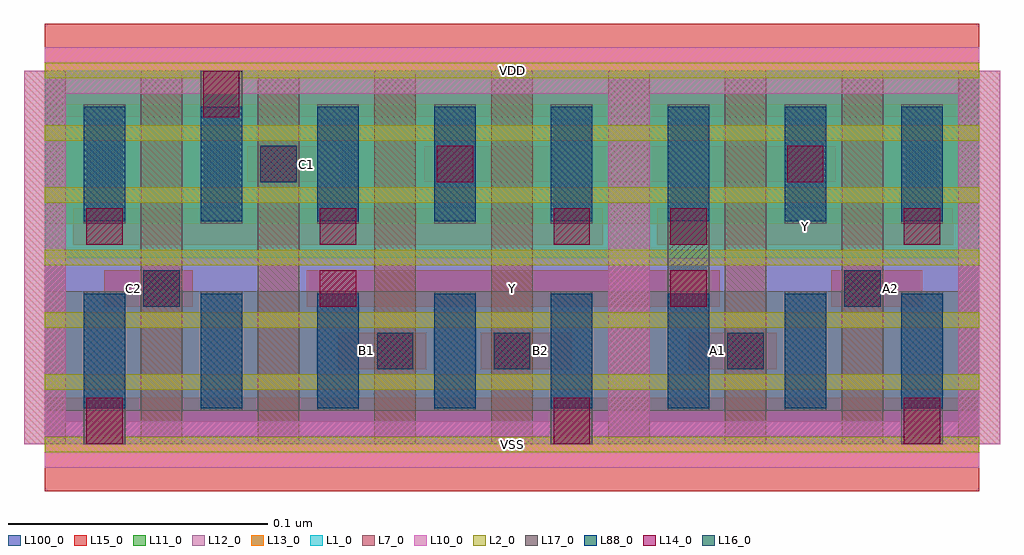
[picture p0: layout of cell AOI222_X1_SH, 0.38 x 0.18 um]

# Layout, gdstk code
import gdstk
lib = gdstk.Library(unit=1e-6, precision=1e-09)
def R(c, l, rs):  # rectangles x0, y0, x1, y1
    for r in rs: c.add(gdstk.rectangle(r[:2], r[2:], *l))
def A(c, l, x, y, w, h, nx, ny, dx, dy):  # array of equal rectangles
    R(c, l, [(x+i*dx, y+j*dy, x+i*dx+w, y+j*dy+h) for i in range(nx) for j in range(ny)])
def P(c, l, *ps):  # polygons
    for p in ps: c.add(gdstk.Polygon(p, *l))
L1_0 = (1, 0)
L2_0 = (2, 0)
L7_0 = (7, 0)
L10_0 = (10, 0)
L11_0 = (11, 0)
L12_0 = (12, 0)
L13_0 = (13, 0)
L14_0 = (14, 0)
L15_0 = (15, 0)
L16_0 = (16, 0)
L17_0 = (17, 0)
L88_0 = (88, 0)
L100_0 = (100, 0)

aoi222_x1_sh = lib.new_cell('AOI222_X1_SH')
R(aoi222_x1_sh, L1_0, [(0,0.072,0.36,0.144)])
A(aoi222_x1_sh, L2_0, 0, -0.003, 0.36, 0.006, 1, 7, 0, 0.024)
A(aoi222_x1_sh, L7_0, -0.008, 0, 0.016, 0.144, 9, 1, 0.045, 0)
P(aoi222_x1_sh, L10_0, [(0,-0.009),(0,0),(-0.008,0),(-0.008,0.135),(0.008,0.135),(0.008,0.009),(0.217,0.009),(0.217,0.135),(0.233,0.135),(0.233,0.009),(0.352,0.009),(0.352,0.135),(-0.008,0.135),(-0.008,0.144),(0,0.144),(0,0.153),(0.36,0.153),(0.36,0.144),(0.368,0.144),(0.368,0),(0.36,0),(0.36,-0.009)])
R(aoi222_x1_sh, L11_0, [(0,0.013,0.36,0.059), (0,0.085,0.36,0.131)])
R(aoi222_x1_sh, L12_0, [(0,0,0.36,0.072)])
R(aoi222_x1_sh, L13_0, [(0,0.072,0.36,0.144)])
A(aoi222_x1_sh, L14_0, 0.016, 0.077, 0.014, 0.014, 3, 1, 0.09, 0)
R(aoi222_x1_sh, L14_0, [(0.016,0,0.03,0.018), (0.196,0,0.21,0.018), (0.331,0,0.345,0.018), (0.128,0.029,0.142,0.043), (0.173,0.029,0.187,0.043), (0.263,0.029,0.277,0.043), (0.038,0.053,0.052,0.067), (0.106,0.053,0.12,0.067), (0.241,0.053,0.255,0.067), (0.308,0.053,0.322,0.067), (0.241,0.077,0.255,0.091), (0.331,0.077,0.345,0.091), (0.083,0.101,0.097,0.115), (0.151,0.101,0.165,0.115), (0.286,0.101,0.3,0.115), (0.061,0.126,0.075,0.144)])
R(aoi222_x1_sh, L15_0, [(0,-0.018,0.36,0.018), (0.113,0.029,0.147,0.043), (0.168,0.029,0.203,0.043), (0.248,0.029,0.282,0.043), (0.023,0.053,0.057,0.067), (0.101,0.053,0.26,0.067), (0.303,0.053,0.338,0.067), (0.011,0.077,0.215,0.091), (0.236,0.077,0.35,0.091), (0.078,0.101,0.113,0.115), (0.146,0.101,0.305,0.115), (0,0.126,0.36,0.162)])
R(aoi222_x1_sh, L16_0, [(0.128,0.029,0.142,0.043), (0.173,0.029,0.187,0.043), (0.263,0.029,0.277,0.043), (0.038,0.053,0.052,0.067), (0.308,0.053,0.322,0.067), (0.083,0.101,0.097,0.115)])
A(aoi222_x1_sh, L17_0, 0.06, 0.013, 0.016, 0.046, 3, 1, 0.045, 0)
A(aoi222_x1_sh, L17_0, 0.105, 0.085, 0.016, 0.046, 3, 1, 0.045, 0)
R(aoi222_x1_sh, L17_0, [(0.015,0,0.031,0.059), (0.195,0,0.211,0.059), (0.33,0,0.346,0.059), (0.24,0.013,0.256,0.131), (0.285,0.013,0.301,0.059), (0.015,0.085,0.031,0.131), (0.06,0.085,0.076,0.144), (0.285,0.085,0.301,0.131), (0.33,0.085,0.346,0.131)])
A(aoi222_x1_sh, L88_0, 0.015, 0.014, 0.016, 0.044, 8, 2, 0.045, 0.072)
R(aoi222_x1_sh, L100_0, [(0,0,0.36,0.144)])
aoi222_x1_sh.add(gdstk.Label('B1', (0.124,0.036), layer=15, texttype=251))
aoi222_x1_sh.add(gdstk.Label('VSS', (0.18,0), layer=15, texttype=251))
aoi222_x1_sh.add(gdstk.Label('VDD', (0.18,0.144), layer=15, texttype=251))
aoi222_x1_sh.add(gdstk.Label('A2', (0.326,0.06), layer=15, texttype=251))
aoi222_x1_sh.add(gdstk.Label('VSS', (0.18,0), layer=15, texttype=251))
aoi222_x1_sh.add(gdstk.Label('VDD', (0.18,0.144), layer=15, texttype=251))
aoi222_x1_sh.add(gdstk.Label('A1', (0.259,0.036), layer=15, texttype=251))
aoi222_x1_sh.add(gdstk.Label('VSS', (0.18,0), layer=15, texttype=251))
aoi222_x1_sh.add(gdstk.Label('VDD', (0.18,0.144), layer=15, texttype=251))
aoi222_x1_sh.add(gdstk.Label('C2', (0.034,0.06), layer=15, texttype=251))
aoi222_x1_sh.add(gdstk.Label('VSS', (0.18,0), layer=15, texttype=251))
aoi222_x1_sh.add(gdstk.Label('VDD', (0.18,0.144), layer=15, texttype=251))
aoi222_x1_sh.add(gdstk.Label('Y', (0.293,0.084), layer=15, texttype=251))
aoi222_x1_sh.add(gdstk.Label('Y', (0.18,0.06), layer=15, texttype=251))
aoi222_x1_sh.add(gdstk.Label('VSS', (0.18,0), layer=15, texttype=251))
aoi222_x1_sh.add(gdstk.Label('VDD', (0.18,0.144), layer=15, texttype=251))
aoi222_x1_sh.add(gdstk.Label('C1', (0.101,0.108), layer=15, texttype=251))
aoi222_x1_sh.add(gdstk.Label('VSS', (0.18,0), layer=15, texttype=251))
aoi222_x1_sh.add(gdstk.Label('VDD', (0.18,0.144), layer=15, texttype=251))
aoi222_x1_sh.add(gdstk.Label('B2', (0.191,0.036), layer=15, texttype=251))
aoi222_x1_sh.add(gdstk.Label('VSS', (0.18,0), layer=15, texttype=251))
aoi222_x1_sh.add(gdstk.Label('VDD', (0.18,0.144), layer=15, texttype=251))
aoi222_x1_sh.add(gdstk.Label('VSS', (0.18,0), layer=3, texttype=251))
aoi222_x1_sh.add(gdstk.Label('VSS', (0.18,0), layer=3, texttype=251))
aoi222_x1_sh.add(gdstk.Label('VSS', (0.18,0), layer=3, texttype=251))
aoi222_x1_sh.add(gdstk.Label('VSS', (0.18,0), layer=3, texttype=251))
aoi222_x1_sh.add(gdstk.Label('VSS', (0.18,0), layer=3, texttype=251))
aoi222_x1_sh.add(gdstk.Label('VSS', (0.18,0), layer=3, texttype=251))
aoi222_x1_sh.add(gdstk.Label('VSS', (0.18,0), layer=3, texttype=251))
aoi222_x1_sh.add(gdstk.Label('VDD', (0.18,0.144), layer=1, texttype=251))
aoi222_x1_sh.add(gdstk.Label('VDD', (0.18,0.144), layer=1, texttype=251))
aoi222_x1_sh.add(gdstk.Label('VDD', (0.18,0.144), layer=1, texttype=251))
aoi222_x1_sh.add(gdstk.Label('VDD', (0.18,0.144), layer=1, texttype=251))
aoi222_x1_sh.add(gdstk.Label('VDD', (0.18,0.144), layer=1, texttype=251))
aoi222_x1_sh.add(gdstk.Label('VDD', (0.18,0.144), layer=1, texttype=251))
aoi222_x1_sh.add(gdstk.Label('VDD', (0.18,0.144), layer=1, texttype=251))

lib.write_gds('AOI222_X1_SH.gds')
